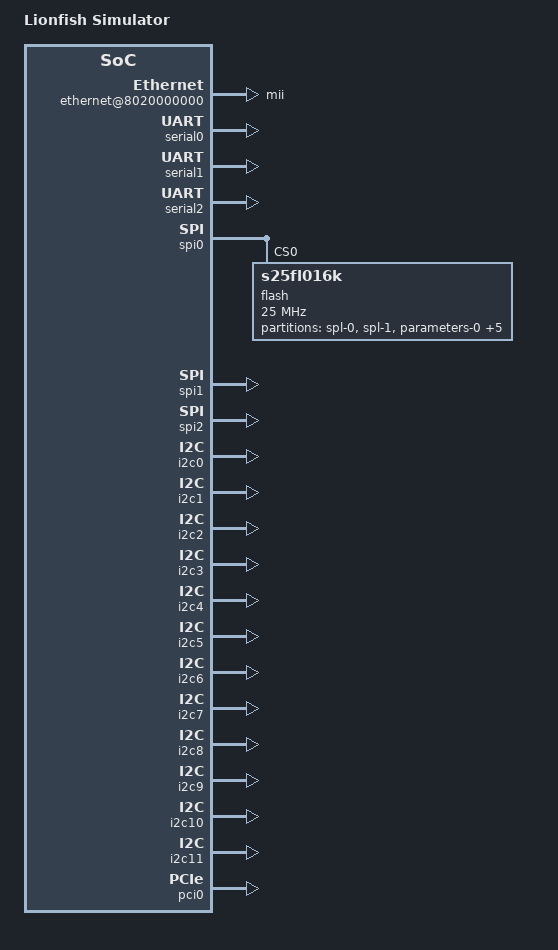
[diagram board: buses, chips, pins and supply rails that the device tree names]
/*
 * arch/arm64/boot/dts/intel/axc6716-sim.dts
 *
 * Copyright (C) 2015 Intel Corp.
 *
 * This program is free software; you can redistribute it and/or modify
 * it under the terms of the GNU General Public License as published by
 * the Free Software Foundation; either version 2 of the License, or
 * (at your option) any later version.
 */

/dts-v1/;

#include "axc67xx.dtsi"
#include "axc6732-cpus.dtsi"

/ {
	model = "Lionfish Simulator";
	compatible = "lsi,axc6732";

	memory {
		device_type = "memory";
		reg = <0 0x00000000 0x40000000>;
	};

	soc {
		virtio_block@8021000000 {
			compatible = "virtio,mmio";
			reg = <0x80 0x34000000 0x1000>;
			interrupts = <GIC_SPI 639 IRQ_TYPE_LEVEL_HIGH>;
		};

		vmfs@8034010000 {
			compatible = "arm,messagebox";
			reg = <0x80 0x34010000 0x1000>;
			interrupts = <GIC_SPI 638 IRQ_TYPE_LEVEL_HIGH>;
		};

		ethernet@8020000000 {
			compatible = "smsc,lan91c111";
			reg = <0x80 0x33000000 0x1000000>;
			interrupts = <GIC_SPI 640 IRQ_TYPE_LEVEL_HIGH>;
			phy-mode = "mii";
			reg-io-width = <4>;
			smsc,irq-active-high;
			smsc,irq-push-pull;
		};
	};
};

&serial0 {
	status = "okay";
};

&serial1 {
	status = "okay";
};

&serial2 {
	status = "okay";
};

&gpio0 {
	status = "okay";
};

&gpio1 {
	status = "okay";
};

&gpio2 {
	status = "okay";
};

&gpio3 {
	status = "okay";
};

&gpio4 {
	status = "okay";
};

&gpio5 {
	status = "okay";
};

&gpio6 {
	status = "okay";
};

&gpio7 {
	status = "okay";
};

&spi0 {
	status = "okay";

	flash@0 {
		#address-cells = <1>;
		#size-cells = <1>;
		compatible = "s25fl016k";
		reg = <0>;
		spi-max-frequency = <25000000>;
		pl022,com-mode = <1>;

		partition@0 {
			label = "spl-0";
			reg = <0x0 0x40000>;
		};
		partition@40000 {
			label = "spl-1";
			reg = <0x40000 0x40000>;
		};
		partition@80000 {
			label = "parameters-0";
			reg = <0x80000 0x10000>;
		};
		partition@90000 {
			label = "parameters-1";
			reg = <0x90000 0x10000>;
		};
		partition@a0000 {
			label = "env-0";
			reg = <0xa0000 0x10000>;
		};
		partition@b0000 {
			label = "env-1";
			reg = <0xb0000 0x10000>;
		};
		partition@100000 {
			label = "u-boot-0";
			reg = <0x100000 0x200000>;
		};
		partition@300000 {
			label = "u-boot-1";
			reg = <0x300000 0x200000>;
		};
	};
};

&spi1 {
	status = "okay";
};

&spi2 {
	status = "okay";
};

&i2c0 {
	status = "okay";
};

&i2c1 {
	status = "okay";
};

&i2c2 {
	status = "okay";
};

&i2c3 {
	status = "okay";
};

&i2c4 {
	status = "okay";
};

&i2c5 {
	status = "okay";
};

&i2c6 {
	status = "okay";
};

&i2c7 {
	status = "okay";
};

&i2c8 {
	status = "okay";
};

&i2c9 {
	status = "okay";
};

&i2c10 {
	status = "okay";
};

&i2c11 {
	status = "okay";
};


&gpdma0 {
	status = "okay";
};

&gpdma1 {
	status = "okay";
};

&pci0 {
	status = "okay";
};
